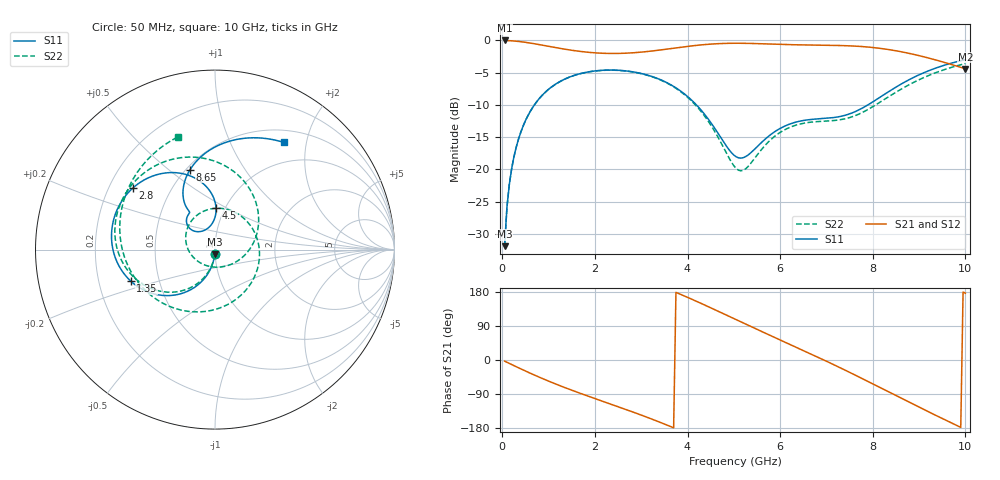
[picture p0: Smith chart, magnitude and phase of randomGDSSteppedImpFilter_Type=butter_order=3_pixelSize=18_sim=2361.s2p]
! freq	dB(S11)	phase(S11)	dB(S12)	phase(S12)
!  dB(S21)	phase(S21)	dB(S22)	phase(S22)
!S-par simulation data
#  GHz  S  DB  R 50
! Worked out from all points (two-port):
!   200 points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, 50 MHz to 10 GHz, reference 50 ohm
!   highest |S21| = -0.01 dB at 50 MHz (marker M1); lowest = -4.4 dB at 10 GHz (marker M2)
!   |S21| within 3 dB of the highest: start of sweep to 9.349 GHz
!   lowest |S11| = -31.9 dB at 50 MHz (marker M3), VSWR 1.05, Z = 49.8 - j2.53 ohm
!   |S11| at or under -10 dB: start of sweep to 693 MHz; 4.193 GHz to 7.894 GHz (3.701 GHz wide, 61.2 % of centre)
!   |S22| runs from -31.9 to -3.6 dB; largest |S21 - S12| = 0
!   S11 on the Smith chart (normalised r, x): 50 MHz: 1.00, -0.05; 1.35 GHz: 0.34, -0.16; 2.8 GHz: 0.30, +0.30; 4.5 GHz: 0.91, +0.44; 8.65 GHz: 0.52, +0.60; 10 GHz: 0.67, +1.62
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0.05  -31.89 -92.9  -0.01 -3.0  -0.01 -3.0  -31.89 -93.2
0.15  -22.41 -98.9  -0.04 -8.9  -0.04 -8.9  -22.42 -99.7
0.4  -14.21 -113.0  -0.20 -23.4  -0.20 -23.4  -14.22 -115.0
0.85  -8.59 -136.4  -0.71 -48.1  -0.71 -48.1  -8.60 -140.8
1.35  -5.99 -159.6  -1.36 -72.8  -1.36 -72.8  -6.00 -167.0
1.75  -5.03 -176.4  -1.76 -90.9  -1.76 -90.9  -5.05 173.6
2.25  -4.60 164.1  -2.01 -112.5  -2.01 -112.5  -4.62 150.1
2.8  -4.85 143.3  -1.93 -136.4  -1.93 -136.4  -4.87 123.5
3.4  -6.04 120.8  -1.50 -164.0  -1.50 -164.0  -6.08 91.4
4  -8.69 99.5  -0.93 165.4  -0.93 165.4  -8.80 53.1
4.5  -12.71 88.6  -0.57 137.8  -0.57 137.8  -13.09 11.4
5.05  -18.03 108.8  -0.44 106.4  -0.44 106.4  -19.84 -72.4
5.8  -14.57 140.0  -0.57 64.1  -0.57 64.1  -15.36 162.6
6.25  -12.85 134.4  -0.66 39.1  -0.66 39.1  -13.35 119.5
6.7  -12.23 127.5  -0.72 13.9  -0.72 13.9  -12.64 77.0
7.15  -11.96 124.2  -0.77 -11.9  -0.77 -11.9  -12.42 29.4
7.55  -11.25 124.2  -0.86 -35.6  -0.86 -35.6  -11.85 -18.0
7.95  -9.75 122.4  -1.06 -59.9  -1.06 -59.9  -10.48 -65.7
8.35  -7.91 115.5  -1.42 -84.6  -1.42 -84.6  -8.70 -109.3
8.65  -6.61 107.3  -1.81 -103.1  -1.81 -103.1  -7.40 -138.9
9.35  -4.31 82.5  -3.01 -145.4  -3.01 -145.4  -5.03 159.6
10  -2.98 57.3  -4.41 176.3  -4.41 176.3  -3.59 107.9
